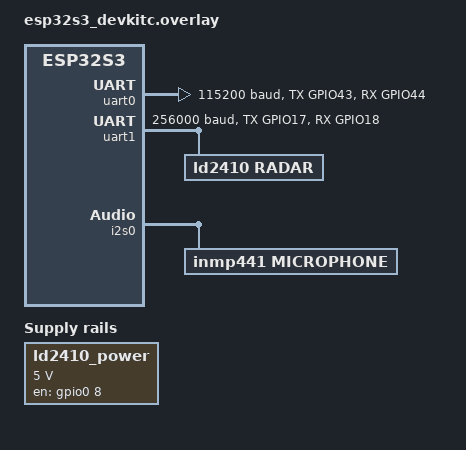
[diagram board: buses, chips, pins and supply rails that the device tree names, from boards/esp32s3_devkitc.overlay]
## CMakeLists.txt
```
# SPDX-License-Identifier: Apache-2.0
# ESP32-S3 Edge AI Gateway V2 - Multimodal AI Build Configuration

cmake_minimum_required(VERSION 3.20.0)

find_package(Zephyr REQUIRED HINTS $ENV{ZEPHYR_BASE})

project(esp32s3_edge_ai_gateway_v2)

# 头文件路径
target_include_directories(app PRIVATE 
    include
    include/radar
    include/audio
    include/multimodal
    include/scene
)

# 源文件
target_sources(app PRIVATE
    # 主程序
    src/main.c
    
    # Phase 1: 雷达接入模块
    src/radar/ld2410_driver.c
    
    # Phase 2: 声音分类模块
    src/audio/inmp441_driver.c
    src/audio/mfcc.c
    
    # Phase 3: 多模态推理
    src/multimodal/multimodal_infer.c
    
    # Phase 4: 场景智能
    src/scene/scene_recognition.c
    
    # 模型数据
    src/model_data.cc
    src/radar_model_data.cc
    
    # 基础驱动模块
    src/drivers/uart_driver.c
    src/drivers/lighting.c
    
    # 可选模块 (网络功能)
    src/drivers/wifi_manager.c
    src/drivers/sntp_time_sync.c
    src/drivers/http_client.c
    src/logic/weather_api.c
    src/logic/sunrise_sunset.c
    
    # 照明控制
    src/logic/fade_control.c
    src/logic/env_dimming.c
    src/logic/data_logger.c
)
```

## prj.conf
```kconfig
# ESP32-S3 Edge AI Gateway V2 Project Configuration
# 多模态 AI 升级方案 (毫米波雷达 + 麦克风)

# ================================================================
# GPIO Support
# ================================================================
CONFIG_GPIO=y

# ================================================================
# Serial/UART Support (调试控制台 + 雷达通信)
# ================================================================
CONFIG_SERIAL=y
CONFIG_UART_INTERRUPT_DRIVEN=y
CONFIG_UART_ASYNC_API=y
CONFIG_UART_ESP32=y

# ================================================================
# I2S Support (麦克风 INMP441)
# ================================================================
CONFIG_I2S=y
CONFIG_I2S_INIT_PRIORITY=70

# ================================================================
# PSRAM (N16R8模块 8MB Octal SPI)
# ================================================================
CONFIG_ESP_SPIRAM=y
CONFIG_ESP_SPIRAM_MODE_OCT=y

# ================================================================
# DSP Support (FFT for MFCC)
# ================================================================
CONFIG_DSP=y
CONFIG_DSP_RES=y

# ================================================================
# Logging
# ================================================================
CONFIG_LOG=y
CONFIG_LOG_DEFAULT_LEVEL=3
CONFIG_LOG_PRINTK=y

# ================================================================
# Console
# ================================================================
CONFIG_CONSOLE=y
CONFIG_UART_CONSOLE=y

# ================================================================
# 内核配置
# ================================================================
CONFIG_MAIN_THREAD_PRIORITY=10
CONFIG_SYSTEM_WORKQUEUE_STACK_SIZE=4096
CONFIG_MAIN_STACK_SIZE=8192

# ================================================================
# Networking Support
# ================================================================
CONFIG_NETWORKING=y
CONFIG_NET_NATIVE=y

# ================================================================
# WiFi Support
# ================================================================
CONFIG_WIFI=y
CONFIG_WIFI_ESP32=y
CONFIG_NET_L2_ETHERNET=y
CONFIG_NET_IPV4=y
CONFIG_NET_UDP=y
CONFIG_NET_DHCPV4=y
CONFIG_NET_SOCKETS=y
CONFIG_NET_SOCKETS_POLL_MAX=4

# ================================================================
# Network Buffer Configuration
# ================================================================
CONFIG_NET_PKT_RX_COUNT=16
CONFIG_NET_PKT_TX_COUNT=16
CONFIG_NET_BUF_RX_COUNT=32
CONFIG_NET_BUF_TX_COUNT=32
CONFIG_NET_BUF_DATA_SIZE=128

# ================================================================
# DNS Client
# ================================================================
CONFIG_DNS_RESOLVER=y
CONFIG_DNS_SERVER_IP_ADDRESSES=y

# ================================================================
# SNTP Time Sync
# ================================================================
CONFIG_SNTP=y

# ================================================================
# HTTP Client
# ================================================================
CONFIG_HTTP_CLIENT=y

# ================================================================
# JSON Parser
# ================================================================
CONFIG_JSON_LIBRARY=y

# ================================================================
# TensorFlow Lite Micro
# ================================================================
CONFIG_TENSORFLOW_LITE_MICRO=y

# ================================================================
# 多线程配置
# ================================================================
CONFIG_NUM_COOP_PRIORITIES=16
CONFIG_NUM_PREEMPT_PRIORITIES=16

# ================================================================
# 堆内存配置
# ================================================================
CONFIG_HEAP_MEM_POOL_SIZE=65536
```

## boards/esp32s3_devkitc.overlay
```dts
/* ESP32-S3 DevKit C Overlay for Multimodal AI Gateway V2
 * 
 * 硬件接口：
 * - UART0: 调试控制台 (USB-CDC)
 * - UART1: LD2410 雷达 (TX=GPIO17, RX=GPIO18)
 * - I2S0: INMP441 麦克风 (BCK=GPIO4, WS=GPIO5, DO=GPIO6)
 * - GPIO: PIR 传感器 (GPIO7, 可选)
 */

/ {
    chosen {
        zephyr,console = &uart0;
        zephyr,shell-uart = &uart0;
    };

    /* 雷达和麦克风电源控制 */
    ld2410_power: ld2410-power {
        compatible = "regulator-fixed";
        regulator-name = "ld2410-power";
        regulator-min-microvolt = <5000000>;
        regulator-max-microvolt = <5000000>;
        enable-gpios = <&gpio0 8 GPIO_ACTIVE_HIGH>;
        regulator-boot-on;
        regulator-always-on;
    };
};

/* UART0: 调试控制台 */
&uart0 {
    status = "okay";
    current-speed = <115200>;
    pinctrl-0 = <&uart0_default>;
    pinctrl-names = "default";
};

&pinctrl {
    uart0_default: uart0-default {
        group1 {
            pinmux = <UART0_TX_GPIO43>;
            output-high;
        };
        group2 {
            pinmux = <UART0_RX_GPIO44>;
            bias-pull-up;
            input-enable;
        };
    };
};

/* UART1: LD2410 雷达通信 */
&uart1 {
    status = "okay";
    current-speed = <256000>;
    pinctrl-0 = <&uart1_default>;
    pinctrl-names = "default";
    
    ld2410: ld2410-radar {
        compatible = "ld2410,radar";
        status = "okay";
    };
};

&pinctrl {
    uart1_default: uart1-default {
        group1 {
            pinmux = <UART1_TX_GPIO17>;
            output-high;
        };
        group2 {
            pinmux = <UART1_RX_GPIO18>;
            bias-pull-up;
            input-enable;
        };
    };
};

/* I2S0: INMP441 麦克风 */
&i2s0 {
    status = "okay";
    pinctrl-0 = <&i2s0_default>;
    pinctrl-names = "default";
    
    inmp441: inmp441-mic {
        compatible = "inmp441,microphone";
        status = "okay";
    };
};

&pinctrl {
    i2s0_default: i2s0-default {
        group1 {
            pinmux = <I2S0_MCLK_GPIO0>,
                     <I2S0_BCK_GPIO4>,
                     <I2S0_WS_GPIO5>,
                     <I2S0_DO_GPIO6>;
            output-enable;
        };
    };
};

/* PSRAM 配置 (8MB Octal) */
&psram0 {
    status = "okay";
    psram-bus-width = <8>;
};
```

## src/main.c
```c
/**
 * @file main.c
 * @brief ESP32-S3 Edge AI Gateway V2 主程序
 * 
 * 多模态 AI 升级方案：
 * - Phase 1: 毫米波雷达接入 (LD2410)
 * - Phase 2: 声音分类 (INMP441 + MFCC)
 * - Phase 3: 多模态融合推理
 * - Phase 4: 场景智能控制
 */

#include <zephyr/kernel.h>
#include <zephyr/logging/log.h>
#include <zephyr/drivers/gpio.h>
#include <zephyr/drivers/uart.h>
#include <zephyr/drivers/i2s.h>

#include "radar/ld2410_driver.h"
#include "audio/inmp441_driver.h"
#include "audio/mfcc.h"
#include "multimodal/multimodal_infer.h"
#include "scene/scene_recognition.h"

/* 基础模块 */
#include "uart_driver.h"
#include "lighting.h"

LOG_MODULE_REGISTER(main, LOG_LEVEL_INF);

/* 线程配置 */
#define RADAR_THREAD_STACK_SIZE   2048
#define AUDIO_THREAD_STACK_SIZE    4096
#define INFERENCE_THREAD_STACK_SIZE 8192
#define CONTROL_THREAD_STACK_SIZE  2048

#define RADAR_THREAD_PRIORITY      5
#define AUDIO_THREAD_PRIORITY       4
#define INFERENCE_THREAD_PRIORITY   6
#define CONTROL_THREAD_PRIORITY     7

/* 推理间隔 */
#define INFERENCE_INTERVAL_MS  1000

/* 全局数据 */
static radar_features_t g_radar_features;
static mfcc_features_t g_mfcc_features;
static multimodal_input_t g_multimodal_input;
static multimodal_output_t g_multimodal_output;
static scene_id_t g_current_scene = SCENE_UNKNOWN;

/* 互斥锁 */
static struct k_mutex features_mutex;
static struct k_mutex output_mutex;

/* 信号量 */
static struct k_sem radar_ready;
static struct k_sem audio_ready;
static struct k_sem inference_trigger;

/* 线程定义 */
K_THREAD_DEFINE(radar_thread, RADAR_THREAD_STACK_SIZE, 
                radar_thread_fn, NULL, NULL, NULL,
                RADAR_THREAD_PRIORITY, 0, 0);

K_THREAD_DEFINE(audio_thread, AUDIO_THREAD_STACK_SIZE,
                 audio_thread_fn, NULL, NULL, NULL,
                 AUDIO_THREAD_PRIORITY, 0, 0);

K_THREAD_DEFINE(inference_thread, INFERENCE_THREAD_STACK_SIZE,
                 inference_thread_fn, NULL, NULL, NULL,
                 INFERENCE_THREAD_PRIORITY, 0, 0);

K_THREAD_DEFINE(control_thread, CONTROL_THREAD_STACK_SIZE,
                 control_thread_fn, NULL, NULL, NULL,
                 CONTROL_THREAD_PRIORITY, 0, 0);

/**
 * @brief 雷达数据采集线程
 */
void radar_thread_fn(void *arg1, void *arg2, void *arg3)
{
    LOG_INF("Radar thread started");
    
    while (1) {
        /* 读取雷达特征 */
        radar_features_t features;
        int ret = ld2410_get_features(&features);
        
        if (ret == 0) {
            k_mutex_lock(&features_mutex, K_FOREVER);
            g_radar_features = features;
            k_mutex_unlock(&features_mutex);
            
            k_sem_give(&radar_ready);
            
            LOG_DBG("Radar: dist=%.2f, vel=%.2f, energy=%.2f",
                    features.distance_norm, features.velocity_norm,
                    features.energy_norm);
        }
        
        k_msleep(100);  /* 10Hz 采样 */
    }
}

/**
 * @brief 音频采集线程
 */
void audio_thread_fn(void *arg1, void *arg2, void *arg3)
{
    LOG_INF("Audio thread started");
    
    /* 音频缓冲区 (1秒音频) */
    int16_t audio_buffer[AUDIO_SAMPLE_RATE];
    
    while (1) {
        /* 采集音频帧 */
        audio_frame_t frame;
        int ret = inmp441_read_frame(&frame);
        
        if (ret == 0 && frame.vad_active) {
            /* 累积音频数据 (1秒) */
            static int sample_count = 0;
            
            if (sample_count < AUDIO_SAMPLE_RATE) {
                memcpy(&audio_buffer[sample_count], frame.samples,
                       frame.num_samples * sizeof(int16_t));
                sample_count += frame.num_samples;
            }
            
            /* 达到1秒时提取 MFCC */
            if (sample_count >= AUDIO_SAMPLE_RATE) {
                mfcc_features_t mfcc;
                mfcc_extract(audio_buffer, AUDIO_SAMPLE_RATE, &mfcc);
                
                k_mutex_lock(&features_mutex, K_FOREVER);
                g_mfcc_features = mfcc;
                k_mutex_unlock(&features_mutex);
                
                k_sem_give(&audio_ready);
                
                sample_count = 0;
                LOG_DBG("MFCC extracted");
            }
        }
        
        k_msleep(10);  /* 100Hz 采样 */
    }
}

/**
 * @brief 多模态推理线程
 */
void inference_thread_fn(void *arg1, void *arg2, void *arg3)
{
    LOG_INF("Inference thread started");
    
    while (1) {
        /* 等待数据就绪 */
        k_sem_take(&radar_ready, K_MSEC(500));
        k_sem_take(&audio_ready, K_MSEC(500));
        
        /* 组装输入 */
        k_mutex_lock(&features_mutex, K_FOREVER);
        
        /* MFCC 数据 */
        memcpy(g_multimodal_input.mfcc, g_mfcc_features.data,
               SOUND_MODEL_INPUT_SIZE * sizeof(float));
        
        /* 雷达特征 */
        g_multimodal_input.radar = g_radar_features;
        
        k_mutex_unlock(&features_mutex);
        
        /* 环境特征 */
        float hour = (k_uptime_get() / 3600000) % 24;
        g_multimodal_input.hour_sin = sinf(2 * M_PI * hour / 24);
        g_multimodal_input.hour_cos = cosf(2 * M_PI * hour / 24);
        g_multimodal_input.sunset_proximity = 0;  /* TODO: 从 v1 模块获取 */
        g_multimodal_input.presence = 1;          /* TODO: 从雷达判断 */
        
        /* 执行推理 */
        multimodal_output_t output;
        int ret = multimodal_infer(&g_multimodal_input, &output);
        
        if (ret == 0) {
            k_mutex_lock(&output_mutex, K_FOREVER);
            g_multimodal_output = output;
            k_mutex_unlock(&output_mutex);
            
            /* 场景识别 */
            scene_id_t scene;
            float confidence;
            scene_recognize(&output, &scene, &confidence);
            
            if (scene_check_switch(scene, confidence)) {
                scene_start_transition(scene, 0);
                g_current_scene = scene;
            }
            
            LOG_INF("Inference: ct=%uK, br=%u%%, scene=%s (%.2f)",
                    output.color_temp, output.brightness,
                    scene_get_name(scene), confidence);
        }
        
        k_msleep(INFERENCE_INTERVAL_MS);
    }
}

/**
 * @brief 照明控制线程
 */
void control_thread_fn(void *arg1, void *arg2, void *arg3)
{
    LOG_INF("Control thread started");
    
    while (1) {
        /* 更新场景过渡 */
        uint16_t color_temp;
        uint8_t brightness;
        
        int ret = scene_update_transition(0, &color_temp, &brightness);
        
        if (ret == 0) {
            /* 发送控制命令 */
            uart_send_set_both(color_temp, brightness);
            
            LOG_DBG("Control: ct=%uK, br=%u%%", color_temp, brightness);
        }
        
        k_msleep(100);  /* 10Hz 控制频率 */
    }
}

/**
 * @brief 主函数
 */
int main(void)
{
    LOG_INF("ESP32-S3 Edge AI Gateway V2 starting...");
    LOG_INF("Multimodal AI: Radar + Microphone");
    
    /* 初始化互斥锁 */
    k_mutex_init(&features_mutex);
    k_mutex_init(&output_mutex);
    
    /* 初始化信号量 */
    k_sem_init(&radar_ready, 0, 1);
    k_sem_init(&audio_ready, 0, 1);
    k_sem_init(&inference_trigger, 0, 1);
    
    /* Phase 1: 初始化雷达驱动 */
    int ret = ld2410_init();
    if (ret < 0) {
        LOG_WRN("Radar init failed (hardware not ready)");
    }
    
    /* Phase 2: 初始化麦克风驱动 */
    ret = inmp441_init();
    if (ret < 0) {
        LOG_WRN("Microphone init failed (hardware not ready)");
    }
    
    /* 初始化 MFCC */
    mfcc_init();
    
    /* Phase 3: 初始化多模态推理 */
    ret = multimodal_init();
    if (ret < 0) {
        LOG_ERR("Multimodal init failed");
        return ret;
    }
    
    /* Phase 4: 初始化场景识别 */
    scene_init();
    
    /* 保留 v1 模块初始化 */
    uart_driver_init();
    lighting_init();
    
    /* 启动音频采集 */
    inmp441_start();
    
    LOG_INF("All modules initialized");
    LOG_INF("Waiting for hardware...");
    
    /* 主循环 */
    while (1) {
        k_msleep(1000);
        
        /* 打印状态 */
        LOG_INF("Scene: %s, CT: %uK, BR: %u%%",
                scene_get_name(g_current_scene),
                g_multimodal_output.color_temp,
                g_multimodal_output.brightness);
    }
    
    return 0;
}
```

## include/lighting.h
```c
/*
 * Lighting Command Interface - 驱动板调光控制
 * Phase 1: HW-013
 */

#ifndef LIGHTING_H
#define LIGHTING_H

#include <stdint.h>

/* 命令码定义 (驱动板协议) */
#define CMD_SET_COLOR_TEMP   0x01  /* 设置色温 (小端16位) */
#define CMD_SET_BRIGHTNESS   0x02  /* 设置光强 (1字节百分比) */
#define CMD_SET_BOTH         0x03  /* 同时设置色温+光强 */
#define CMD_GET_STATUS       0x04  /* 查询驱动板状态 */

/* 响应状态码 */
#define RESP_ACK             0x00  /* 成功确认 */
#define RESP_NAK             0xFF  /* 失败/拒绝 */

/* 参数范围 */
#define COLOR_TEMP_MIN       2700
#define COLOR_TEMP_MAX       6500
#define BRIGHTNESS_MIN       0
#define BRIGHTNESS_MAX       100

#include "rule_engine.h"  /* lighting_settings_t, 时段默认值 */

/**
 * @brief 初始化照明控制模块
 * @return 0=成功, 负值=失败
 */
int lighting_init(void);

/**
 * @brief 设置灯具色温
 * @param color_temp 色温值 (2700-6500K)
 * @return 0=成功, 负值=失败
 */
int lighting_set_color_temp(uint16_t color_temp);

/**
 * @brief 设置灯具光强
 * @param brightness 光强百分比 (0-100)
 * @return 0=成功, 负值=失败
 */
int lighting_set_brightness(uint8_t brightness);

/**
 * @brief 同时设置色温和光强
 * @param color_temp 色温值 (2700-6500K)
 * @param brightness 光强百分比 (0-100)
 * @return 0=成功, 负值=失败
 */
int lighting_set_both(uint16_t color_temp, uint8_t brightness);

/**
 * @brief 查询驱动板当前状态
 * @return 0=成功, 负值=失败
 */
int lighting_get_status(void);

#endif /* LIGHTING_H */
```

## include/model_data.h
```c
/**
 * @file model_data.h
 * @brief 多模态模型数据占位文件
 * 
 * 实际模型数据需要通过训练生成：
 * 1. 训练声音分类模型 (sound_classifier)
 * 2. 训练雷达分析模型 (radar_analyzer)
 * 3. 训练融合决策模型 (fusion_model)
 * 4. 使用 xxd 转换为 C 数组
 */

#ifndef MODEL_DATA_H
#define MODEL_DATA_H

#include <stdint.h>
#include <stddef.h>

/* 
 * 声音分类模型 (Sound Classifier)
 * 输入: MFCC (40 x 32 = 1280 维)
 * 输出: 5 类场景概率
 * 大小: ~30KB (INT8 量化后)
 */
extern const unsigned char g_sound_model_data[];
extern const unsigned int g_sound_model_len;

/*
 * 雷达分析模型 (Radar Analyzer)
 * 输入: 8 维特征向量
 * 输出: 6 维特征向量
 * 大小: ~2KB (INT8 量化后)
 */
extern const unsigned char g_radar_model_data[];
extern const unsigned int g_radar_model_len;

/*
 * 融合决策模型 (Fusion Model)
 * 输入: 19 维 (5 + 6 + 8)
 * 输出: 2 维 (色温, 亮度)
 * 大小: ~3KB (INT8 量化后)
 */
extern const unsigned char g_fusion_model_data[];
extern const unsigned int g_fusion_model_len;

/* 模型版本信息 */
#define MODEL_VERSION_MAJOR  1
#define MODEL_VERSION_MINOR  0
#define MODEL_VERSION_PATCH  0

/* 模型校验和 (训练后生成) */
#define SOUND_MODEL_CHECKSUM  0x00000000
#define RADAR_MODEL_CHECKSUM  0x00000000
#define FUSION_MODEL_CHECKSUM 0x00000000

#endif /* MODEL_DATA_H */
```

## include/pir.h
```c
/*
 * PIR Sensor Driver Header
 * Phase 1: HW-005 ~ HW-008
 *
 * GPIO4 - PIR人体传感器
 *   GPIO_ACTIVE_HIGH: 有人=高电平, 无人=低电平
 *   内部上拉: 默认状态为高电平(无人时传感器输出低)
 */

#ifndef PIR_H
#define PIR_H

#include <stdint.h>
#include <stdbool.h>

/**
 * @brief 初始化PIR传感器GPIO
 *        配置GPIO4为输入模式，启用内部上拉和双边沿中断
 * @return 0=成功, 负值=失败
 */
int pir_init(void);

/**
 * @brief 获取PIR传感器当前状态(已消抖)
 * @return true=有人, false=无人
 */
bool pir_get_status(void);

/**
 * @brief 获取PIR原始引脚电平(未消抖)
 * @return true=高电平, false=低电平
 */
bool pir_get_raw(void);

#endif /* PIR_H */
```

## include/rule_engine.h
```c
/*
 * Rule-Based Lighting Engine
 * Phase 1: HW-019
 */

#ifndef RULE_ENGINE_H
#define RULE_ENGINE_H

#include <stdint.h>
#include <stdbool.h>

#include "time_period.h"
#include "presence_state.h"

/* 照明参数结构体 */
typedef struct {
	uint16_t color_temp;   /* 色温 (K) */
	uint8_t  brightness;   /* 光强 (0-100) */
} lighting_settings_t;

/* 时段默认参数 */
#define MORNING_COLOR_TEMP    4800
#define MORNING_BRIGHTNESS    65

#define AFTERNOON_COLOR_TEMP  4200
#define AFTERNOON_BRIGHTNESS  60

#define EVENING_COLOR_TEMP    3500
#define EVENING_BRIGHTNESS    55

/* 关灯设置 (无人超时后) */
#define LIGHTS_OFF_COLOR_TEMP 2700
#define LIGHTS_OFF_BRIGHTNESS 0

/**
 * @brief 初始化规则引擎
 * @return 0=成功
 */
int rule_engine_init(void);

/**
 * @brief 根据时段获取默认照明参数
 * @param period 时段枚举值
 * @param settings 输出参数结构体
 */
void rule_get_period_settings(time_period_t period, lighting_settings_t *settings);

/**
 * @brief 计算当前应有的照明参数 (综合状态+时段)
 * @param presence 人员状态
 * @param period   当前时段
 * @param settings 输出参数结构体
 */
void rule_calculate_settings(presence_state_t presence,
			     time_period_t period,
			     lighting_settings_t *settings);

/**
 * @brief 自动判断并获取当前设置 (主循环调用)
 * @param settings 输出参数结构体
 * @return 0=灯应该开启, 1=灯应该关闭 (无人超时)
 */
int rule_get_current_settings(lighting_settings_t *settings);

#endif /* RULE_ENGINE_H */
```

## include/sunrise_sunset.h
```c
/*
 * Sunrise-Sunset API - 日出日落时间获取模块
 * Phase 2: WF-021 ~ WF-025
 *
 * 功能: sunrise-sunset.org API封装、JSON解析、时间转换、缓存、定时更新
 */

#ifndef SUNRISE_SUNSET_H
#define SUNRISE_SUNSET_H

#include <stdint.h>
#include <stdbool.h>

/* 太阳数据缓存结构体 (WF-024) */
typedef struct {
	float sunrise_hour;      /* 日出时间 (小时, 如 6.5 = 6:30) */
	float sunset_hour;       /* 日落时间 (小时, 如 18.75 = 18:45) */
	int day_of_year;         /* 数据对应的日期 (用于判断是否需要更新) */
	int64_t timestamp;       /* 获取时间 */
	bool valid;              /* 数据是否有效 */
} sun_cache_t;

/* 默认经纬度 (北京) */
#define SUN_DEFAULT_LATITUDE   39.9042
#define SUN_DEFAULT_LONGITUDE  116.4074

/* 缓存有效期: 24小时 */
#define SUN_CACHE_TTL_S  86400

/**
 * @brief 初始化日出日落模块 (WF-021)
 * @return 0=成功
 */
int sun_api_init(void);

/**
 * @brief 获取日出日落数据 (WF-021)
 * @param lat 纬度
 * @param lng 经度
 * @return 0=成功, 负值=失败
 */
int sun_fetch(double lat, double lng);

/**
 * @brief 解析JSON响应 (WF-022)
 * @param json_response API返回的JSON
 * @return 0=成功, 负值=失败
 */
int sun_parse_json(const char *json_response);

/**
 * @brief ISO8601时间转小时数 (WF-023)
 * @param iso_time ISO8601格式时间字符串 (如 "2026-04-24T06:30:00+00:00")
 * @return 小时数 (0-24), 如 6.5 表示 6:30
 */
float sun_iso_to_hour(const char *iso_time);

/**
 * @brief 获取日落临近度 (WF-026)
 * 返回当前时间距离日落的归一化值
 * @return 0.0=远离日落, 1.0=日落时刻, >1.0=日落后
 */
float sun_get_sunset_proximity(void);

/**
 * @brief 获取日出时间 (小时)
 * @return 日出小时数 (0-24), -1=无效
 */
float sun_get_sunrise_hour(void);

/**
 * @brief 获取日落时间 (小时)
 * @return 日落小时数 (0-24), -1=无效
 */
float sun_get_sunset_hour(void);

/**
 * @brief 获取太阳数据缓存 (WF-024)
 * @return 缓存指针 (只读)
 */
const sun_cache_t *sun_get_cache(void);

/**
 * @brief 检查缓存是否有效
 * @return true=有效
 */
bool sun_cache_is_valid(void);

#ifdef CONFIG_TEST
/**
 * @brief 测试辅助: 设置缓存数据
 * 仅在测试构建中可用
 */
void sun_cache_set_for_test(float sunrise, float sunset, bool valid);
#endif

/**
 * @brief 日出日落定时更新线程 (WF-025)
 */
void sun_update_thread_fn(void);

/**
 * @brief 启动日出日落更新线程（显式启动）
 * @return 0=成功
 */
int sun_api_start(void);

/**
 * @brief 停止日出日落更新线程
 * @return 0=成功
 */
int sun_api_stop(void);

#endif /* SUNRISE_SUNSET_H */
```

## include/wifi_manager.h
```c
/*
 * WiFi Manager - WiFi连接管理
 * Phase 2: WF-002 ~ WF-005
 *
 * 功能: WiFi初始化、连接管理、自动重连、状态查询
 */

#ifndef WIFI_MANAGER_H
#define WIFI_MANAGER_H

#include <stdint.h>
#include <stdbool.h>
#include <zephyr/net/net_mgmt.h>
#include <zephyr/net/wifi_mgmt.h>

/* WiFi状态 (使用 WM_ 前缀避免与 Zephyr wifi.h 冲突) */
typedef enum {
	WM_WIFI_STATE_DISCONNECTED = 0,
	WM_WIFI_STATE_CONNECTING,
	WM_WIFI_STATE_CONNECTED,
	WM_WIFI_STATE_GOT_IP,
	WM_WIFI_STATE_ERROR
} wifi_state_t;

/* 重连参数 */
#define WIFI_RECONNECT_MIN_DELAY_MS   5000    /* 初始重连延迟 5s */
#define WIFI_RECONNECT_MAX_DELAY_MS   60000   /* 最大重连延迟 60s */
#define WIFI_RECONNECT_MAX_RETRIES    0       /* 0=无限重试 */

/* SSID/密码最大长度 */
#define WIFI_SSID_MAX_LEN    32
#define WIFI_PSK_MAX_LEN     64

/**
 * @brief 初始化WiFi管理器 (WF-002)
 * @return 0=成功, 负值=失败
 */
int wifi_manager_init(void);

/**
 * @brief 连接WiFi (WF-003)
 * @param ssid WiFi名称
 * @param psk  WiFi密码
 * @return 0=成功, 负值=失败
 */
int wifi_manager_connect(const char *ssid, const char *psk);

/**
 * @brief 断开WiFi连接
 * @return 0=成功, 负值=失败
 */
int wifi_manager_disconnect(void);

/**
 * @brief 获取当前WiFi状态 (WF-005)
 * @return wifi_state_t
 */
wifi_state_t wifi_manager_get_state(void);

/**
 * @brief 检查WiFi是否已连接并获取IP
 * @return true=已连接且获取到IP
 */
bool wifi_manager_is_connected(void);

/**
 * @brief 获取当前IP地址字符串 (WF-005)
 * @param buf  输出缓冲区
 * @param len  缓冲区长度
 * @return 0=成功, 负值=未连接
 */
int wifi_manager_get_ip(char *buf, size_t len);

/**
 * @brief 获取WiFi信号强度RSSI (WF-005)
 * @return RSSI值(dBm), 负值=失败
 */
int wifi_manager_get_rssi(void);

/**
 * @brief 注册WiFi状态变化回调 (WF-005)
 * @param cb 回调函数
 */
typedef void (*wifi_state_cb_t)(wifi_state_t new_state);
void wifi_manager_register_state_cb(wifi_state_cb_t cb);

/**
 * @brief WiFi管理器主循环 (WF-004: 重连逻辑)
 *        在独立线程中运行,处理断线重连
 */
void wifi_manager_thread_fn(void);

/**
 * @brief 启动WiFi管理线程（显式启动）
 * @return 0=成功
 */
int wifi_manager_start(void);

/**
 * @brief 停止WiFi管理线程
 * @return 0=成功
 */
int wifi_manager_stop(void);

#endif /* WIFI_MANAGER_H */
```

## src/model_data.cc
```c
/**
 * @file model_data.cc
 * @brief 模型数据占位实现
 * 
 * TODO: 使用训练好的模型替换以下占位数据
 * 
 * 生成步骤：
 * 1. python train_sound_model.py  # 训练声音分类模型
 * 2. python train_radar_model.py  # 训练雷达分析模型
 * 3. python train_fusion_model.py # 训练融合模型
 * 4. xxd -i sound_model.tflite > model_data.cc
 * 5. xxd -i radar_model.tflite >> model_data.cc
 * 6. xxd -i fusion_model.tflite >> model_data.cc
 */

#include <stdint.h>

/* 声音分类模型占位数据 (实际大小 ~30KB) */
/* TODO: 替换为真实模型数据 */
const unsigned char g_sound_model_data[] = {
    /* TFLite FlatBuffer Header (占位) */
    0x1c, 0x00, 0x00, 0x00, 0x54, 0x46, 0x4c, 0x33,
    /* ... 实际模型数据 ... */
    0x00  /* 占位字节 */
};
const unsigned int g_sound_model_len = sizeof(g_sound_model_data);

/* 雷达分析模型占位数据 (实际大小 ~2KB) */
const unsigned char g_radar_model_data[] = {
    /* TFLite FlatBuffer Header (占位) */
    0x1c, 0x00, 0x00, 0x00, 0x54, 0x46, 0x4c, 0x33,
    /* ... 实际模型数据 ... */
    0x00  /* 占位字节 */
};
const unsigned int g_radar_model_len = sizeof(g_radar_model_data);

/* 融合决策模型占位数据 (实际大小 ~3KB) */
const unsigned char g_fusion_model_data[] = {
    /* TFLite FlatBuffer Header (占位) */
    0x1c, 0x00, 0x00, 0x00, 0x54, 0x46, 0x4c, 0x33,
    /* ... 实际模型数据 ... */
    0x00  /* 占位字节 */
};
const unsigned int g_fusion_model_len = sizeof(g_fusion_model_data);
```

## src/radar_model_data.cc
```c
/*
 * Radar Scene Classifier Model Data - Placeholder
 * Auto-generated placeholder, run radar_train_model.py to generate real data
 *
 * Model: 8 → 16 → 12 → 6 MLP Classifier
 * Input: 8-dim radar features (INT8)
 * Output: 6-class scene probabilities (INT8)
 *
 * Scenes:
 *   0 = empty (无人)
 *   1 = breathing (静坐呼吸)
 *   2 = fan (风扇摇头)
 *   3 = walking (行走)
 *   4 = multiple_people (多人)
 *   5 = entering_leaving (进入/离开)
 */

#include <stdint.h>

// Placeholder: 256 bytes of zeros
// Real model will be ~2KB after training
const unsigned int g_radar_model_data_len = 256;
const alignas(16) unsigned char g_radar_model_data[] = {
    0x00, 0x00, 0x00, 0x00, 0x00, 0x00, 0x00, 0x00,
    0x00, 0x00, 0x00, 0x00, 0x00, 0x00, 0x00, 0x00,
    /* ... placeholder data ... */
    0x00, 0x00, 0x00, 0x00, 0x00, 0x00, 0x00, 0x00,
};
```
